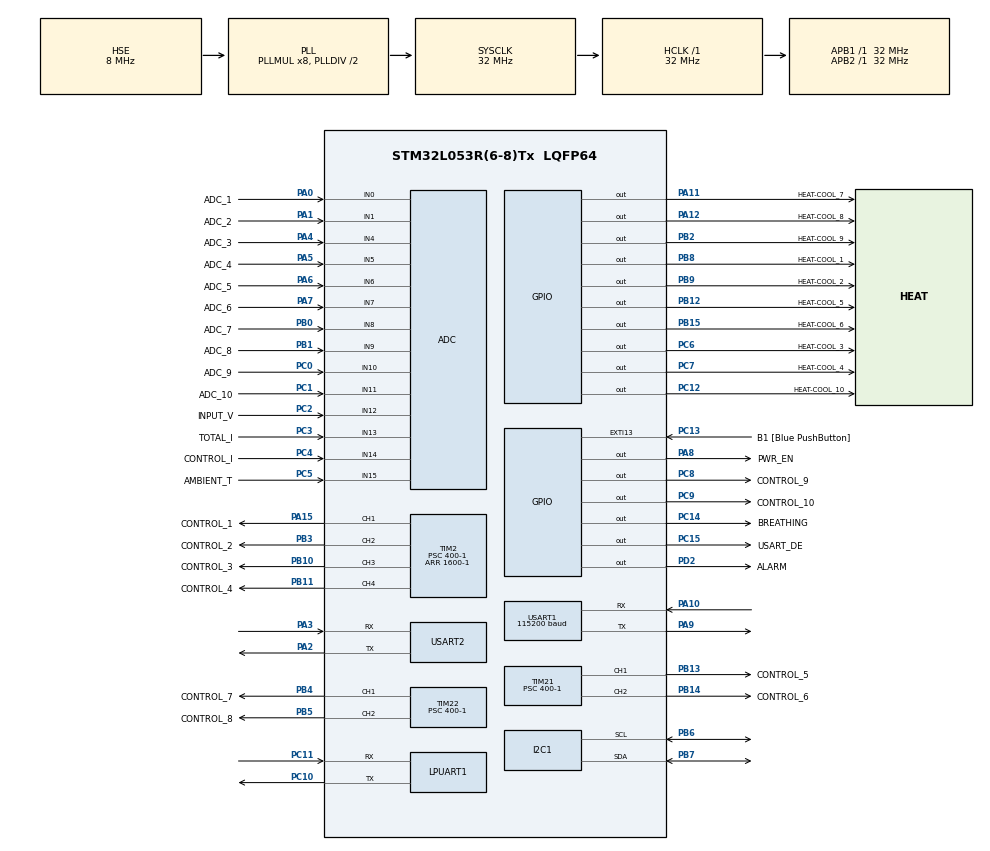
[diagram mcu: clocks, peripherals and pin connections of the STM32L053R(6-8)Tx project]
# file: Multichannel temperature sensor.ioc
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ADC.ClockPrescaler=ADC_CLOCK_SYNC_PCLK_DIV4
ADC.ContinuousConvMode=DISABLE
ADC.DMAContinuousRequests=ENABLE
ADC.DiscontinuousConvMode=DISABLE
ADC.EOCSelection=ADC_EOC_SINGLE_CONV
ADC.ExternalTrigConv=ADC_SOFTWARE_START
ADC.Overrun=ADC_OVR_DATA_PRESERVED
ADC.SamplingTime=ADC_SAMPLETIME_160CYCLES_5
Dma.ADC.0.Direction=DMA_PERIPH_TO_MEMORY
Dma.ADC.0.Instance=DMA1_Channel1
Dma.ADC.0.MemDataAlignment=DMA_MDATAALIGN_HALFWORD
Dma.ADC.0.MemInc=DMA_MINC_ENABLE
Dma.ADC.0.Mode=DMA_CIRCULAR
Dma.ADC.0.PeriphDataAlignment=DMA_PDATAALIGN_HALFWORD
Dma.ADC.0.PeriphInc=DMA_PINC_DISABLE
Dma.ADC.0.Priority=DMA_PRIORITY_LOW
Dma.Request0=ADC
I2C1.Timing=0x00707CBB
Mcu.Family=STM32L0
Mcu.Name=STM32L053R(6-8)Tx
Mcu.Package=LQFP64
NVIC.DMA1_Channel1_IRQn=true\:0\:0\:false\:false\:true\:false\:true
NVIC.EXTI4_15_IRQn=true\:0\:0\:false\:false\:true\:true\:true
NVIC.TIM6_DAC_IRQn=true\:0\:0\:false\:false\:true\:true\:true
PA0.GPIO_Label=ADC_1
PA0.Mode=IN0
PA0.Signal=ADC_IN0
PA1.GPIO_Label=ADC_2
PA1.Mode=IN1
PA1.Signal=ADC_IN1
PA10.Mode=Asynchronous
PA10.Signal=USART1_RX
PA11.GPIO_Label=HEAT-COOL_7
PA11.Signal=GPIO_Output
PA12.GPIO_Label=HEAT-COOL_8
PA12.Signal=GPIO_Output
PA13.Mode=Serial_Wire
PA13.Signal=SYS_SWDIO
PA14.Mode=Serial_Wire
PA14.Signal=SYS_SWCLK
PA15.GPIO_Label=CONTROL_1
PA15.Signal=S_TIM2_CH1
PA2.Mode=Asynchronous
PA2.Signal=USART2_TX
PA3.Mode=Asynchronous
PA3.Signal=USART2_RX
PA4.GPIO_Label=ADC_3
PA4.Mode=IN4
PA4.Signal=ADC_IN4
PA5.GPIO_Label=ADC_4
PA5.Mode=IN5
PA5.Signal=ADC_IN5
PA6.GPIO_Label=ADC_5
PA6.Mode=IN6
PA6.Signal=ADC_IN6
PA7.GPIO_Label=ADC_6
PA7.Mode=IN7
PA7.Signal=ADC_IN7
PA8.GPIO_Label=PWR_EN
PA8.Signal=GPIO_Output
PA9.Mode=Asynchronous
PA9.Signal=USART1_TX
PB0.GPIO_Label=ADC_7
PB0.Mode=IN8
PB0.Signal=ADC_IN8
PB1.GPIO_Label=ADC_8
PB1.Mode=IN9
PB1.Signal=ADC_IN9
PB10.GPIO_Label=CONTROL_3
PB10.Signal=S_TIM2_CH3
PB11.GPIO_Label=CONTROL_4
PB11.Signal=S_TIM2_CH4
PB12.GPIO_Label=HEAT-COOL_5
PB12.Signal=GPIO_Output
PB13.GPIO_Label=CONTROL_5
PB13.GPIO_Speed=GPIO_SPEED_FREQ_LOW
PB13.Signal=S_TIM21_CH1
PB14.GPIO_Label=CONTROL_6
PB14.Signal=S_TIM21_CH2
PB15.GPIO_Label=HEAT-COOL_6
PB15.Signal=GPIO_Output
PB2.GPIO_Label=HEAT-COOL_9
PB2.Signal=GPIO_Output
PB3.GPIO_Label=CONTROL_2
PB3.Signal=S_TIM2_CH2
PB4.GPIO_Label=CONTROL_7
PB4.Signal=S_TIM22_CH1
PB5.GPIO_Label=CONTROL_8
PB5.Signal=S_TIM22_CH2
PB6.Mode=I2C
PB6.Signal=I2C1_SCL
PB7.Mode=I2C
PB7.Signal=I2C1_SDA
PB8.GPIO_Label=HEAT-COOL_1
PB8.Signal=GPIO_Output
PB9.GPIO_Label=HEAT-COOL_2
PB9.Signal=GPIO_Output
PC0.GPIO_Label=ADC_9
PC0.Mode=IN10
PC0.Signal=ADC_IN10
PC1.GPIO_Label=ADC_10
PC1.Mode=IN11
PC1.Signal=ADC_IN11
PC10.Mode=Asynchronous
PC10.Signal=LPUART1_TX
PC11.Mode=Asynchronous
PC11.Signal=LPUART1_RX
PC12.GPIO_Label=HEAT-COOL_10
PC12.Signal=GPIO_Output
PC13.GPIO_Label=B1 [Blue PushButton]
PC13.GPIO_ModeDefaultEXTI=GPIO_MODE_IT_FALLING
PC13.Signal=GPXTI13
PC14-OSC32_IN.GPIO_Label=BREATHING
PC14-OSC32_IN.Signal=GPIO_Output
PC15-OSC32_OUT.GPIO_Label=USART_DE
PC15-OSC32_OUT.GPIO_ModeDefaultOutputPP=GPIO_MODE_OUTPUT_PP
PC15-OSC32_OUT.GPIO_PuPd=GPIO_NOPULL
PC15-OSC32_OUT.Signal=GPIO_Output
PC2.GPIO_Label=INPUT_V
PC2.Mode=IN12
PC2.Signal=ADC_IN12
PC3.GPIO_Label=TOTAL_I
PC3.Mode=IN13
PC3.Signal=ADC_IN13
PC4.GPIO_Label=CONTROL_I
PC4.Mode=IN14
PC4.Signal=ADC_IN14
PC5.GPIO_Label=AMBIENT_T
PC5.Mode=IN15
PC5.Signal=ADC_IN15
PC6.GPIO_Label=HEAT-COOL_3
PC6.Signal=GPIO_Output
PC7.GPIO_Label=HEAT-COOL_4
PC7.Signal=GPIO_Output
PC8.GPIO_Label=CONTROL_9
PC8.Signal=GPIO_Output
PC9.GPIO_Label=CONTROL_10
PC9.Signal=GPIO_Output
PD2.GPIO_Label=ALARM
PD2.Signal=GPIO_Output
PH0-OSC_IN.Mode=HSE-External-Clock-Source
PH0-OSC_IN.Signal=RCC_OSC_IN
PH1-OSC_OUT.Signal=RCC_OSC_OUT
ProjectManager.HeapSize=0x200
ProjectManager.StackSize=0x400
ProjectManager.TargetToolchain=STM32CubeIDE
RCC.AHBFreq_Value=32000000
RCC.APB1Freq_Value=32000000
RCC.APB1TimFreq_Value=32000000
RCC.APB2Freq_Value=32000000
RCC.APB2TimFreq_Value=32000000
RCC.HCLKFreq_Value=32000000
RCC.HSE_VALUE=8000000
RCC.HSI16_VALUE=16000000
RCC.HSI48_VALUE=48000000
RCC.HSI_VALUE=16000000
RCC.LSEState=RCC_LSE_ON
RCC.LSE_VALUE=32768
RCC.MSI_VALUE=2097000
RCC.PLLMUL=RCC_PLLMUL_8
RCC.PLLSourceVirtual=RCC_PLLSOURCE_HSE
RCC.SYSCLKFreq_VALUE=32000000
RCC.SYSCLKSource=RCC_SYSCLKSOURCE_PLLCLK
RCC.VCOOutputFreq_Value=64000000
SH.S_TIM21_CH1.0=TIM21_CH1,PWM Generation1 CH1
SH.S_TIM21_CH2.0=TIM21_CH2,PWM Generation2 CH2
SH.S_TIM22_CH1.0=TIM22_CH1,PWM Generation1 CH1
SH.S_TIM22_CH2.0=TIM22_CH2,PWM Generation2 CH2
SH.S_TIM2_CH1.0=TIM2_CH1,PWM Generation1 CH1
SH.S_TIM2_CH2.0=TIM2_CH2,PWM Generation2 CH2
SH.S_TIM2_CH3.0=TIM2_CH3,PWM Generation3 CH3
SH.S_TIM2_CH4.0=TIM2_CH4,PWM Generation4 CH4
TIM2.Channel-PWM\ Generation1\ CH1=TIM_CHANNEL_1
TIM2.Channel-PWM\ Generation2\ CH2=TIM_CHANNEL_2
TIM2.Channel-PWM\ Generation3\ CH3=TIM_CHANNEL_3
TIM2.Channel-PWM\ Generation4\ CH4=TIM_CHANNEL_4
TIM2.Period=1600-1
TIM2.Prescaler=400-1
TIM2.Pulse-PWM\ Generation1\ CH1=0
TIM2.TIM_MasterOutputTrigger=TIM_TRGO_RESET
TIM2.TIM_MasterSlaveMode=TIM_MASTERSLAVEMODE_DISABLE
TIM21.Channel-PWM\ Generation1\ CH1=TIM_CHANNEL_1
TIM21.Channel-PWM\ Generation2\ CH2=TIM_CHANNEL_2
TIM21.Period=1600-1
TIM21.Prescaler=400-1
TIM22.Channel-PWM\ Generation1\ CH1=TIM_CHANNEL_1
TIM22.Channel-PWM\ Generation2\ CH2=TIM_CHANNEL_2
TIM22.Period=1600-1
TIM22.Prescaler=400-1
TIM6.Period=6400-1
TIM6.TIM_MasterOutputTrigger=TIM_TRGO_UPDATE
USART1.BaudRate=115200
USART1.MSBFirstParam=ADVFEATURE_MSBFIRST_DISABLE
USART1.Parity=PARITY_NONE
USART1.VirtualMode-Asynchronous=VM_ASYNC
USART1.WordLength=WORDLENGTH_8B
USART2.VirtualMode-Asynchronous=VM_ASYNC
VP_TIM21_VS_ClockSourceINT.Mode=Internal
VP_TIM22_VS_ClockSourceINT.Mode=Internal
VP_TIM2_VS_ClockSourceINT.Mode=Internal
VP_TIM6_VS_ClockSourceINT.Mode=Enable_Timer
board=NUCLEO-L053R8

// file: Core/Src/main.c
/* USER CODE BEGIN Header */
/**
 ******************************************************************************
 * @file           : main.c
 * @brief          : Main program body
 ******************************************************************************
 * @attention
 *
 * Copyright (c) 2022 STMicroelectronics.
 * All rights reserved.
 *
 * This software is licensed under terms that can be found in the LICENSE file
 * in the root directory of this software component.
 * If no LICENSE file comes with this software, it is provided AS-IS.
 *
 ******************************************************************************
 */
/* USER CODE END Header */
#include "main.h"

/* USER CODE BEGIN Includes */
#include "adc_data.h"
#include "pid_control.h"
#include "pwm.h"
#include "soft_pwm.h"
#include "telemetry.h"
#include "temperature.h"
#include "uart_com.h"

/* USER CODE END Includes */

/* USER CODE BEGIN PTD */

enum
{
    PWM_CHANNEL_1,
    PWM_CHANNEL_2,
    PWM_CHANNEL_3,
    PWM_CHANNEL_4,
    PWM_CHANNEL_5,
    PWM_CHANNEL_6,
    PWM_CHANNEL_7,
    PWM_CHANNEL_8
};

/* USER CODE END PTD */

/* USER CODE BEGIN PD */
#define PWM_CHANNELS 8

/* USER CODE END PD */

ADC_HandleTypeDef hadc;
DMA_HandleTypeDef hdma_adc;

I2C_HandleTypeDef hi2c1;

UART_HandleTypeDef hlpuart1;
UART_HandleTypeDef huart1;
UART_HandleTypeDef huart2;

TIM_HandleTypeDef htim2;
TIM_HandleTypeDef htim6;
TIM_HandleTypeDef htim21;
TIM_HandleTypeDef htim22;

/* USER CODE BEGIN PV */
volatile uint8_t conv_cmplt_flag = 0;
volatile uint8_t send_uart_flag = 0;

soft_pwm_id_t aux_heater_1;
soft_pwm_id_t aux_heater_2;

/* Hardware PWM handlers and
 * configuration parameters for all channels */
pwm_handler_t pwm_handlers[PWM_CHANNELS];
TIM_HandleTypeDef *p_pwm_htim[PWM_CHANNELS];
uint8_t pwm_timer_channels[PWM_CHANNELS];

/* USER CODE END PV */

/* Private function prototypes
   -----------------------------------------------*/
void SystemClock_Config(void);
static void MX_GPIO_Init(void);
static void MX_ADC_Init(void);
static void MX_USART1_UART_Init(void);
static void MX_TIM2_Init(void);
static void MX_TIM22_Init(void);
static void MX_I2C1_Init(void);
static void MX_DMA_Init(void);
static void MX_TIM21_Init(void);
static void MX_LPUART1_UART_Init(void);
static void MX_USART2_UART_Init(void);
static void MX_TIM6_Init(void);

int main(void)
{
    /* USER CODE BEGIN 1 */
    /* Assign timers for each channel */
    p_pwm_htim[PWM_CHANNEL_1] = &htim2;
    p_pwm_htim[PWM_CHANNEL_2] = &htim2;
    p_pwm_htim[PWM_CHANNEL_3] = &htim2;
    p_pwm_htim[PWM_CHANNEL_4] = &htim2;
    p_pwm_htim[PWM_CHANNEL_5] = &htim21;
    p_pwm_htim[PWM_CHANNEL_6] = &htim21;
    p_pwm_htim[PWM_CHANNEL_7] = &htim22;
    p_pwm_htim[PWM_CHANNEL_8] = &htim22;

    /* Assign TIM_CHANNEL_X for each PWM channel */
    pwm_timer_channels[PWM_CHANNEL_1] = TIM_CHANNEL_1;
    pwm_timer_channels[PWM_CHANNEL_2] = TIM_CHANNEL_2;
    pwm_timer_channels[PWM_CHANNEL_3] = TIM_CHANNEL_3;
    pwm_timer_channels[PWM_CHANNEL_4] = TIM_CHANNEL_4;
    pwm_timer_channels[PWM_CHANNEL_5] = TIM_CHANNEL_1;
    pwm_timer_channels[PWM_CHANNEL_6] = TIM_CHANNEL_2;
    pwm_timer_channels[PWM_CHANNEL_7] = TIM_CHANNEL_1;
    pwm_timer_channels[PWM_CHANNEL_8] = TIM_CHANNEL_2;

    /* USER CODE END 1 */

    /* MCU
     * Configuration--------------------------------------------------------*/

    /* Reset of all peripherals, Initializes the Flash interface and the
     * Systick. */
    HAL_Init();

    /* Configure the system clock */
    SystemClock_Config();

    /* USER CODE BEGIN SysInit */

    /**
     * @note The STM32 HAL has a bug where MX_DMA_Init() needs to be called
     * before the rest, otherwise the DMA does not work.
     */

    /* USER CODE END SysInit */

    /* Initialize all configured peripherals */
    MX_DMA_Init();
    MX_GPIO_Init();
    MX_ADC_Init();
    MX_USART1_UART_Init();
    MX_TIM2_Init();
    MX_TIM22_Init();
    MX_I2C1_Init();
    MX_TIM21_Init();
    MX_LPUART1_UART_Init();
    MX_USART2_UART_Init();
    MX_TIM6_Init();
    /* USER CODE BEGIN 2 */

    startADC(&hadc);

    /* setup soft PWM channels*/
    startSoftPwmTimer(&htim6);

    if (registerSoftPwm(&aux_heater_1, CONTROL_9_GPIO_Port, CONTROL_9_Pin) !=
        NO_ERROR)
    {
        Error_Handler();
    }
    if (registerSoftPwm(&aux_heater_2, CONTROL_10_GPIO_Port, CONTROL_10_Pin) !=
        NO_ERROR)
    {
        Error_Handler();
    }
#ifdef DEBUG
    setSoftPwmDutyCycle(aux_heater_1, 35);
    setSoftPwmDutyCycle(aux_heater_2, 65);
#endif

    /*  Initialise PWM Handlers and start PWM */
    for (uint8_t channel = 0; channel < PWM_CHANNELS; channel++)
    {
        pwm_handlers[channel] =
            startPWM(p_pwm_htim[channel], pwm_timer_channels[channel]);
    }

    /* Set Duty Cycle at 50% for all PWM channels */
    for (uint8_t channel = 0; channel < PWM_CHANNELS; channel++)
    {
        setDutyCycle(&pwm_handlers[channel], 50);
    }

    /* USER CODE END 2 */

    /* Infinite loop */
    /* USER CODE BEGIN WHILE */
    while (1)
    {
        if (conv_cmplt_flag == 1)
        {
            conv_cmplt_flag = 0;

            if (send_uart_flag == 1)
            {
                uartSendData(&huart2, SEND_ADC);
                uartSendData(&huart2, SEND_CELSIUS);
                uartSendData(&huart2, SEND_TELEMETRY);
                send_uart_flag = 0;
            }

            triggerADC();
        }
        /* USER CODE END WHILE */

    }
}

void SystemClock_Config(void)
{
    RCC_OscInitTypeDef RCC_OscInitStruct = {0};
    RCC_ClkInitTypeDef RCC_ClkInitStruct = {0};
    RCC_PeriphCLKInitTypeDef PeriphClkInit = {0};

    /** Configure the main internal regulator output voltage
     */
    __HAL_PWR_VOLTAGESCALING_CONFIG(PWR_REGULATOR_VOLTAGE_SCALE1);
    /** Initializes the RCC Oscillators according to the specified parameters
     * in the RCC_OscInitTypeDef structure.
     */
    RCC_OscInitStruct.OscillatorType = RCC_OSCILLATORTYPE_HSE;
    RCC_OscInitStruct.HSEState = RCC_HSE_BYPASS;
    RCC_OscInitStruct.PLL.PLLState = RCC_PLL_ON;
    RCC_OscInitStruct.PLL.PLLSource = RCC_PLLSOURCE_HSE;
    RCC_OscInitStruct.PLL.PLLMUL = RCC_PLLMUL_8;
    RCC_OscInitStruct.PLL.PLLDIV = RCC_PLLDIV_2;
    if (HAL_RCC_OscConfig(&RCC_OscInitStruct) != HAL_OK)
    {
        Error_Handler();
    }
    /** Initializes the CPU, AHB and APB buses clocks
     */
    RCC_ClkInitStruct.ClockType = RCC_CLOCKTYPE_HCLK | RCC_CLOCKTYPE_SYSCLK |
                                  RCC_CLOCKTYPE_PCLK1 | RCC_CLOCKTYPE_PCLK2;
    RCC_ClkInitStruct.SYSCLKSource = RCC_SYSCLKSOURCE_PLLCLK;
    RCC_ClkInitStruct.AHBCLKDivider = RCC_SYSCLK_DIV1;
    RCC_ClkInitStruct.APB1CLKDivider = RCC_HCLK_DIV1;
    RCC_ClkInitStruct.APB2CLKDivider = RCC_HCLK_DIV1;

    if (HAL_RCC_ClockConfig(&RCC_ClkInitStruct, FLASH_LATENCY_1) != HAL_OK)
    {
        Error_Handler();
    }
    PeriphClkInit.PeriphClockSelection =
        RCC_PERIPHCLK_USART1 | RCC_PERIPHCLK_USART2 | RCC_PERIPHCLK_LPUART1 |
        RCC_PERIPHCLK_I2C1;
    PeriphClkInit.Usart1ClockSelection = RCC_USART1CLKSOURCE_PCLK2;
    PeriphClkInit.Usart2ClockSelection = RCC_USART2CLKSOURCE_PCLK1;
    PeriphClkInit.Lpuart1ClockSelection = RCC_LPUART1CLKSOURCE_PCLK1;
    PeriphClkInit.I2c1ClockSelection = RCC_I2C1CLKSOURCE_PCLK1;
    if (HAL_RCCEx_PeriphCLKConfig(&PeriphClkInit) != HAL_OK)
    {
        Error_Handler();
    }
}

static void MX_ADC_Init(void)
{

    ADC_ChannelConfTypeDef sConfig = {0};

    /** Configure the global features of the ADC (Clock, Resolution, Data
     * Alignment and number of conversion)
     */
    hadc.Instance = ADC1;
    hadc.Init.OversamplingMode = DISABLE;
    hadc.Init.ClockPrescaler = ADC_CLOCK_SYNC_PCLK_DIV4;
    hadc.Init.Resolution = ADC_RESOLUTION_12B;
    hadc.Init.SamplingTime = ADC_SAMPLETIME_160CYCLES_5;
    hadc.Init.ScanConvMode = ADC_SCAN_DIRECTION_FORWARD;
    hadc.Init.DataAlign = ADC_DATAALIGN_RIGHT;
    hadc.Init.ContinuousConvMode = DISABLE;
    hadc.Init.DiscontinuousConvMode = DISABLE;
    hadc.Init.ExternalTrigConvEdge = ADC_EXTERNALTRIGCONVEDGE_NONE;
    hadc.Init.ExternalTrigConv = ADC_SOFTWARE_START;
    hadc.Init.DMAContinuousRequests = ENABLE;
    hadc.Init.EOCSelection = ADC_EOC_SINGLE_CONV;
    hadc.Init.Overrun = ADC_OVR_DATA_PRESERVED;
    hadc.Init.LowPowerAutoWait = DISABLE;
    hadc.Init.LowPowerFrequencyMode = DISABLE;
    hadc.Init.LowPowerAutoPowerOff = DISABLE;
    if (HAL_ADC_Init(&hadc) != HAL_OK)
    {
        Error_Handler();
    }
    /** Configure for the selected ADC regular channel to be converted.
     */
    sConfig.Channel = ADC_CHANNEL_0;
    sConfig.Rank = ADC_RANK_CHANNEL_NUMBER;
    if (HAL_ADC_ConfigChannel(&hadc, &sConfig) != HAL_OK)
    {
        Error_Handler();
    }
    /** Configure for the selected ADC regular channel to be converted.
     */
    sConfig.Channel = ADC_CHANNEL_1;
    if (HAL_ADC_ConfigChannel(&hadc, &sConfig) != HAL_OK)
    {
        Error_Handler();
    }
    /** Configure for the selected ADC regular channel to be converted.
     */
    sConfig.Channel = ADC_CHANNEL_4;
    if (HAL_ADC_ConfigChannel(&hadc, &sConfig) != HAL_OK)
    {
        Error_Handler();
    }
    /** Configure for the selected ADC regular channel to be converted.
     */
    sConfig.Channel = ADC_CHANNEL_5;
    if (HAL_ADC_ConfigChannel(&hadc, &sConfig) != HAL_OK)
    {
        Error_Handler();
    }
    /** Configure for the selected ADC regular channel to be converted.
     */
    sConfig.Channel = ADC_CHANNEL_6;
    if (HAL_ADC_ConfigChannel(&hadc, &sConfig) != HAL_OK)
    {
        Error_Handler();
    }
    /** Configure for the selected ADC regular channel to be converted.
     */
    sConfig.Channel = ADC_CHANNEL_7;
    if (HAL_ADC_ConfigChannel(&hadc, &sConfig) != HAL_OK)
    {
        Error_Handler();
    }
    /** Configure for the selected ADC regular channel to be converted.
     */
    sConfig.Channel = ADC_CHANNEL_8;
    if (HAL_ADC_ConfigChannel(&hadc, &sConfig) != HAL_OK)
    {
        Error_Handler();
    }
    /** Configure for the selected ADC regular channel to be converted.
     */
    sConfig.Channel = ADC_CHANNEL_9;
    if (HAL_ADC_ConfigChannel(&hadc, &sConfig) != HAL_OK)
    {
        Error_Handler();
    }
    /** Configure for the selected ADC regular channel to be converted.
     */
    sConfig.Channel = ADC_CHANNEL_10;
    if (HAL_ADC_ConfigChannel(&hadc, &sConfig) != HAL_OK)
    {
        Error_Handler();
    }
    /** Configure for the selected ADC regular channel to be converted.
     */
    sConfig.Channel = ADC_CHANNEL_11;
    if (HAL_ADC_ConfigChannel(&hadc, &sConfig) != HAL_OK)
    {
        Error_Handler();
    }
    /** Configure for the selected ADC regular channel to be converted.
     */
    sConfig.Channel = ADC_CHANNEL_12;
    if (HAL_ADC_ConfigChannel(&hadc, &sConfig) != HAL_OK)
    {
        Error_Handler();
    }
    /** Configure for the selected ADC regular channel to be converted.
     */
    sConfig.Channel = ADC_CHANNEL_13;
    if (HAL_ADC_ConfigChannel(&hadc, &sConfig) != HAL_OK)
    {
        Error_Handler();
    }
    /** Configure for the selected ADC regular channel to be converted.
     */
    sConfig.Channel = ADC_CHANNEL_14;
    if (HAL_ADC_ConfigChannel(&hadc, &sConfig) != HAL_OK)
    {
        Error_Handler();
    }
    /** Configure for the selected ADC regular channel to be converted.
     */
    sConfig.Channel = ADC_CHANNEL_15;
    if (HAL_ADC_ConfigChannel(&hadc, &sConfig) != HAL_OK)
    {
        Error_Handler();
    }
}

static void MX_I2C1_Init(void)
{

    hi2c1.Instance = I2C1;
    hi2c1.Init.Timing = 0x00707CBB;
    hi2c1.Init.OwnAddress1 = 0;
    hi2c1.Init.AddressingMode = I2C_ADDRESSINGMODE_7BIT;
    hi2c1.Init.DualAddressMode = I2C_DUALADDRESS_DISABLE;
    hi2c1.Init.OwnAddress2 = 0;
    hi2c1.Init.OwnAddress2Masks = I2C_OA2_NOMASK;
    hi2c1.Init.GeneralCallMode = I2C_GENERALCALL_DISABLE;
    hi2c1.Init.NoStretchMode = I2C_NOSTRETCH_DISABLE;
    if (HAL_I2C_Init(&hi2c1) != HAL_OK)
    {
        Error_Handler();
    }
    /** Configure Analogue filter
     */
    if (HAL_I2CEx_ConfigAnalogFilter(&hi2c1, I2C_ANALOGFILTER_ENABLE) != HAL_OK)
    {
        Error_Handler();
    }
    /** Configure Digital filter
     */
    if (HAL_I2CEx_ConfigDigitalFilter(&hi2c1, 0) != HAL_OK)
    {
        Error_Handler();
    }
}

static void MX_LPUART1_UART_Init(void)
{

    hlpuart1.Instance = LPUART1;
    hlpuart1.Init.BaudRate = 209700;
    hlpuart1.Init.WordLength = UART_WORDLENGTH_7B;
    hlpuart1.Init.StopBits = UART_STOPBITS_1;
    hlpuart1.Init.Parity = UART_PARITY_NONE;
    hlpuart1.Init.Mode = UART_MODE_TX_RX;
    hlpuart1.Init.HwFlowCtl = UART_HWCONTROL_NONE;
    hlpuart1.Init.OneBitSampling = UART_ONE_BIT_SAMPLE_DISABLE;
    hlpuart1.AdvancedInit.AdvFeatureInit = UART_ADVFEATURE_NO_INIT;
    if (HAL_UART_Init(&hlpuart1) != HAL_OK)
    {
        Error_Handler();
    }
}

static void MX_USART1_UART_Init(void)
{

    huart1.Instance = USART1;
    huart1.Init.BaudRate = 115200;
    huart1.Init.WordLength = UART_WORDLENGTH_8B;
    huart1.Init.StopBits = UART_STOPBITS_1;
    huart1.Init.Parity = UART_PARITY_NONE;
    huart1.Init.Mode = UART_MODE_TX_RX;
    huart1.Init.HwFlowCtl = UART_HWCONTROL_NONE;
    huart1.Init.OverSampling = UART_OVERSAMPLING_16;
    huart1.Init.OneBitSampling = UART_ONE_BIT_SAMPLE_DISABLE;
    huart1.AdvancedInit.AdvFeatureInit = UART_ADVFEATURE_NO_INIT;
    if (HAL_UART_Init(&huart1) != HAL_OK)
    {
        Error_Handler();
    }
}

static void MX_USART2_UART_Init(void)
{

    huart2.Instance = USART2;
    huart2.Init.BaudRate = 115200;
    huart2.Init.WordLength = UART_WORDLENGTH_8B;
    huart2.Init.StopBits = UART_STOPBITS_1;
    huart2.Init.Parity = UART_PARITY_NONE;
    huart2.Init.Mode = UART_MODE_TX_RX;
    huart2.Init.HwFlowCtl = UART_HWCONTROL_NONE;
    huart2.Init.OverSampling = UART_OVERSAMPLING_16;
    huart2.Init.OneBitSampling = UART_ONE_BIT_SAMPLE_DISABLE;
    huart2.AdvancedInit.AdvFeatureInit = UART_ADVFEATURE_NO_INIT;
    if (HAL_UART_Init(&huart2) != HAL_OK)
    {
        Error_Handler();
    }
}

static void MX_TIM2_Init(void)
{

    TIM_ClockConfigTypeDef sClockSourceConfig = {0};
    TIM_MasterConfigTypeDef sMasterConfig = {0};
    TIM_OC_InitTypeDef sConfigOC = {0};

    htim2.Instance = TIM2;
    htim2.Init.Prescaler = 400 - 1;
    htim2.Init.CounterMode = TIM_COUNTERMODE_UP;
    htim2.Init.Period = 1600 - 1;
    htim2.Init.ClockDivision = TIM_CLOCKDIVISION_DIV1;
    htim2.Init.AutoReloadPreload = TIM_AUTORELOAD_PRELOAD_DISABLE;
    if (HAL_TIM_Base_Init(&htim2) != HAL_OK)
    {
        Error_Handler();
    }
    sClockSourceConfig.ClockSource = TIM_CLOCKSOURCE_INTERNAL;
    if (HAL_TIM_ConfigClockSource(&htim2, &sClockSourceConfig) != HAL_OK)
    {
        Error_Handler();
    }
    if (HAL_TIM_PWM_Init(&htim2) != HAL_OK)
    {
        Error_Handler();
    }
    sMasterConfig.MasterOutputTrigger = TIM_TRGO_RESET;
    sMasterConfig.MasterSlaveMode = TIM_MASTERSLAVEMODE_DISABLE;
    if (HAL_TIMEx_MasterConfigSynchronization(&htim2, &sMasterConfig) != HAL_OK)
    {
        Error_Handler();
    }
    sConfigOC.OCMode = TIM_OCMODE_PWM1;
    sConfigOC.Pulse = 0;
    sConfigOC.OCPolarity = TIM_OCPOLARITY_HIGH;
    sConfigOC.OCFastMode = TIM_OCFAST_DISABLE;
    if (HAL_TIM_PWM_ConfigChannel(&htim2, &sConfigOC, TIM_CHANNEL_1) != HAL_OK)
    {
        Error_Handler();
    }
    if (HAL_TIM_PWM_ConfigChannel(&htim2, &sConfigOC, TIM_CHANNEL_2) != HAL_OK)
    {
        Error_Handler();
    }
    if (HAL_TIM_PWM_ConfigChannel(&htim2, &sConfigOC, TIM_CHANNEL_3) != HAL_OK)
    {
        Error_Handler();
    }
    if (HAL_TIM_PWM_ConfigChannel(&htim2, &sConfigOC, TIM_CHANNEL_4) != HAL_OK)
    {
        Error_Handler();
    }
    HAL_TIM_MspPostInit(&htim2);
}

static void MX_TIM6_Init(void)
{

    TIM_MasterConfigTypeDef sMasterConfig = {0};

    htim6.Instance = TIM6;
    htim6.Init.Prescaler = 0;
    htim6.Init.CounterMode = TIM_COUNTERMODE_UP;
    htim6.Init.Period = 6400 - 1;
    htim6.Init.AutoReloadPreload = TIM_AUTORELOAD_PRELOAD_DISABLE;
    if (HAL_TIM_Base_Init(&htim6) != HAL_OK)
    {
        Error_Handler();
    }
    sMasterConfig.MasterOutputTrigger = TIM_TRGO_UPDATE;
    sMasterConfig.MasterSlaveMode = TIM_MASTERSLAVEMODE_DISABLE;
    if (HAL_TIMEx_MasterConfigSynchronization(&htim6, &sMasterConfig) != HAL_OK)
    {
        Error_Handler();
    }
}

static void MX_TIM21_Init(void)
{

    TIM_ClockConfigTypeDef sClockSourceConfig = {0};
    TIM_MasterConfigTypeDef sMasterConfig = {0};
    TIM_OC_InitTypeDef sConfigOC = {0};

    htim21.Instance = TIM21;
    htim21.Init.Prescaler = 400 - 1;
    htim21.Init.CounterMode = TIM_COUNTERMODE_UP;
    htim21.Init.Period = 1600 - 1;
    htim21.Init.ClockDivision = TIM_CLOCKDIVISION_DIV1;
    htim21.Init.AutoReloadPreload = TIM_AUTORELOAD_PRELOAD_DISABLE;
    if (HAL_TIM_Base_Init(&htim21) != HAL_OK)
    {
        Error_Handler();
    }
    sClockSourceConfig.ClockSource = TIM_CLOCKSOURCE_INTERNAL;
    if (HAL_TIM_ConfigClockSource(&htim21, &sClockSourceConfig) != HAL_OK)
    {
        Error_Handler();
    }
    if (HAL_TIM_PWM_Init(&htim21) != HAL_OK)
    {
        Error_Handler();
    }
    sMasterConfig.MasterOutputTrigger = TIM_TRGO_RESET;
    sMasterConfig.MasterSlaveMode = TIM_MASTERSLAVEMODE_DISABLE;
    if (HAL_TIMEx_MasterConfigSynchronization(&htim21, &sMasterConfig) !=
        HAL_OK)
    {
        Error_Handler();
    }
    sConfigOC.OCMode = TIM_OCMODE_PWM1;
    sConfigOC.Pulse = 0;
    sConfigOC.OCPolarity = TIM_OCPOLARITY_HIGH;
    sConfigOC.OCFastMode = TIM_OCFAST_DISABLE;
    if (HAL_TIM_PWM_ConfigChannel(&htim21, &sConfigOC, TIM_CHANNEL_1) != HAL_OK)
    {
        Error_Handler();
    }
    if (HAL_TIM_PWM_ConfigChannel(&htim21, &sConfigOC, TIM_CHANNEL_2) != HAL_OK)
    {
        Error_Handler();
    }
    HAL_TIM_MspPostInit(&htim21);
}

static void MX_TIM22_Init(void)
{

    TIM_ClockConfigTypeDef sClockSourceConfig = {0};
    TIM_MasterConfigTypeDef sMasterConfig = {0};
    TIM_OC_InitTypeDef sConfigOC = {0};

    htim22.Instance = TIM22;
    htim22.Init.Prescaler = 400 - 1;
    htim22.Init.CounterMode = TIM_COUNTERMODE_UP;
    htim22.Init.Period = 1600 - 1;
    htim22.Init.ClockDivision = TIM_CLOCKDIVISION_DIV1;
    htim22.Init.AutoReloadPreload = TIM_AUTORELOAD_PRELOAD_DISABLE;
    if (HAL_TIM_Base_Init(&htim22) != HAL_OK)
    {
        Error_Handler();
    }
    sClockSourceConfig.ClockSource = TIM_CLOCKSOURCE_INTERNAL;
    if (HAL_TIM_ConfigClockSource(&htim22, &sClockSourceConfig) != HAL_OK)
    {
        Error_Handler();
    }
    if (HAL_TIM_PWM_Init(&htim22) != HAL_OK)
    {
        Error_Handler();
    }
    sMasterConfig.MasterOutputTrigger = TIM_TRGO_RESET;
    sMasterConfig.MasterSlaveMode = TIM_MASTERSLAVEMODE_DISABLE;
    if (HAL_TIMEx_MasterConfigSynchronization(&htim22, &sMasterConfig) !=
        HAL_OK)
    {
        Error_Handler();
    }
    sConfigOC.OCMode = TIM_OCMODE_PWM1;
    sConfigOC.Pulse = 0;
    sConfigOC.OCPolarity = TIM_OCPOLARITY_HIGH;
    sConfigOC.OCFastMode = TIM_OCFAST_DISABLE;
    if (HAL_TIM_PWM_ConfigChannel(&htim22, &sConfigOC, TIM_CHANNEL_1) != HAL_OK)
    {
        Error_Handler();
    }
    if (HAL_TIM_PWM_ConfigChannel(&htim22, &sConfigOC, TIM_CHANNEL_2) != HAL_OK)
    {
        Error_Handler();
    }
    HAL_TIM_MspPostInit(&htim22);
}

static void MX_DMA_Init(void)
{
    /* DMA controller clock enable */
    __HAL_RCC_DMA1_CLK_ENABLE();

    /* DMA interrupt init */
    /* DMA1_Channel1_IRQn interrupt configuration */
    HAL_NVIC_SetPriority(DMA1_Channel1_IRQn, 0, 0);
    HAL_NVIC_EnableIRQ(DMA1_Channel1_IRQn);
}

static void MX_GPIO_Init(void)
{
    GPIO_InitTypeDef GPIO_InitStruct = {0};

    /* GPIO Ports Clock Enable */
    __HAL_RCC_GPIOC_CLK_ENABLE();
    __HAL_RCC_GPIOH_CLK_ENABLE();
    __HAL_RCC_GPIOA_CLK_ENABLE();
    __HAL_RCC_GPIOB_CLK_ENABLE();
    __HAL_RCC_GPIOD_CLK_ENABLE();

    /*Configure GPIO pin Output Level */
    HAL_GPIO_WritePin(GPIOC,
                      BREATHING_Pin | USART_DE_Pin | HEAT_COOL_3_Pin |
                          HEAT_COOL_4_Pin | CONTROL_9_Pin | CONTROL_10_Pin |
                          HEAT_COOL_10_Pin,
                      GPIO_PIN_RESET);

    /*Configure GPIO pin Output Level */
    HAL_GPIO_WritePin(GPIOB,
                      HEAT_COOL_9_Pin | HEAT_COOL_5_Pin | HEAT_COOL_6_Pin |
                          HEAT_COOL_1_Pin | HEAT_COOL_2_Pin,
                      GPIO_PIN_RESET);

    /*Configure GPIO pin Output Level */
    HAL_GPIO_WritePin(GPIOA,
                      PWR_EN_Pin | HEAT_COOL_7_Pin | HEAT_COOL_8_Pin,
                      GPIO_PIN_RESET);

    /*Configure GPIO pin Output Level */
    HAL_GPIO_WritePin(ALARM_GPIO_Port, ALARM_Pin, GPIO_PIN_RESET);

    /*Configure GPIO pin : B1_Pin */
    GPIO_InitStruct.Pin = B1_Pin;
    GPIO_InitStruct.Mode = GPIO_MODE_IT_FALLING;
    GPIO_InitStruct.Pull = GPIO_NOPULL;
    HAL_GPIO_Init(B1_GPIO_Port, &GPIO_InitStruct);

    /*Configure GPIO pins : BREATHING_Pin USART_DE_Pin HEAT_COOL_3_Pin
       HEAT_COOL_4_Pin CONTROL_9_Pin CONTROL_10_Pin HEAT_COOL_10_Pin */
    GPIO_InitStruct.Pin = BREATHING_Pin | USART_DE_Pin | HEAT_COOL_3_Pin |
                          HEAT_COOL_4_Pin | CONTROL_9_Pin | CONTROL_10_Pin |
                          HEAT_COOL_10_Pin;
    GPIO_InitStruct.Mode = GPIO_MODE_OUTPUT_PP;
    GPIO_InitStruct.Pull = GPIO_NOPULL;
    GPIO_InitStruct.Speed = GPIO_SPEED_FREQ_LOW;
    HAL_GPIO_Init(GPIOC, &GPIO_InitStruct);

    /*Configure GPIO pins : HEAT_COOL_9_Pin HEAT_COOL_5_Pin HEAT_COOL_6_Pin
       HEAT_COOL_1_Pin HEAT_COOL_2_Pin */
    GPIO_InitStruct.Pin = HEAT_COOL_9_Pin | HEAT_COOL_5_Pin | HEAT_COOL_6_Pin |
                          HEAT_COOL_1_Pin | HEAT_COOL_2_Pin;
    GPIO_InitStruct.Mode = GPIO_MODE_OUTPUT_PP;
    GPIO_InitStruct.Pull = GPIO_NOPULL;
    GPIO_InitStruct.Speed = GPIO_SPEED_FREQ_LOW;
    HAL_GPIO_Init(GPIOB, &GPIO_InitStruct);

    /*Configure GPIO pins : PWR_EN_Pin HEAT_COOL_7_Pin HEAT_COOL_8_Pin */
    GPIO_InitStruct.Pin = PWR_EN_Pin | HEAT_COOL_7_Pin | HEAT_COOL_8_Pin;
    GPIO_InitStruct.Mode = GPIO_MODE_OUTPUT_PP;
    GPIO_InitStruct.Pull = GPIO_NOPULL;
    GPIO_InitStruct.Speed = GPIO_SPEED_FREQ_LOW;
    HAL_GPIO_Init(GPIOA, &GPIO_InitStruct);

    /*Configure GPIO pin : ALARM_Pin */
    GPIO_InitStruct.Pin = ALARM_Pin;
    GPIO_InitStruct.Mode = GPIO_MODE_OUTPUT_PP;
    GPIO_InitStruct.Pull = GPIO_NOPULL;
    GPIO_InitStruct.Speed = GPIO_SPEED_FREQ_LOW;
    HAL_GPIO_Init(ALARM_GPIO_Port, &GPIO_InitStruct);

    /* EXTI interrupt init*/
    HAL_NVIC_SetPriority(EXTI4_15_IRQn, 0, 0);
    HAL_NVIC_EnableIRQ(EXTI4_15_IRQn);
}

/* USER CODE BEGIN 4 */

/** ADC Conversion Complete Interrupt Callback */
void HAL_ADC_ConvCpltCallback(ADC_HandleTypeDef *hadc)
{
    conv_cmplt_flag = 1;
}

/* Blue button interrupt */
void HAL_GPIO_EXTI_Callback(uint16_t GPIO_Pin)
{
    send_uart_flag = 1;
}

/* USER CODE END 4 */

void Error_Handler(void)
{
    /* USER CODE BEGIN Error_Handler_Debug */
    /* User can add his own implementation to report the HAL error return state
     */
    __disable_irq();
    while (1)
    {
    }
    /* USER CODE END Error_Handler_Debug */
}

#ifdef USE_FULL_ASSERT
/**
 * @brief  Reports the name of the source file and the source line number
 *         where the assert_param error has occurred.
 * @param  file: pointer to the source file name
 * @param  line: assert_param error line source number
 * @retval None
 */
void assert_failed(uint8_t *file, uint32_t line)
{
    /* USER CODE BEGIN 6 */
    /* User can add his own implementation to report the file name and line
       number, ex: printf("Wrong parameters value: file %s on line %d\r\n",
       file, line) */
    /* USER CODE END 6 */
}
#endif /* USE_FULL_ASSERT */
